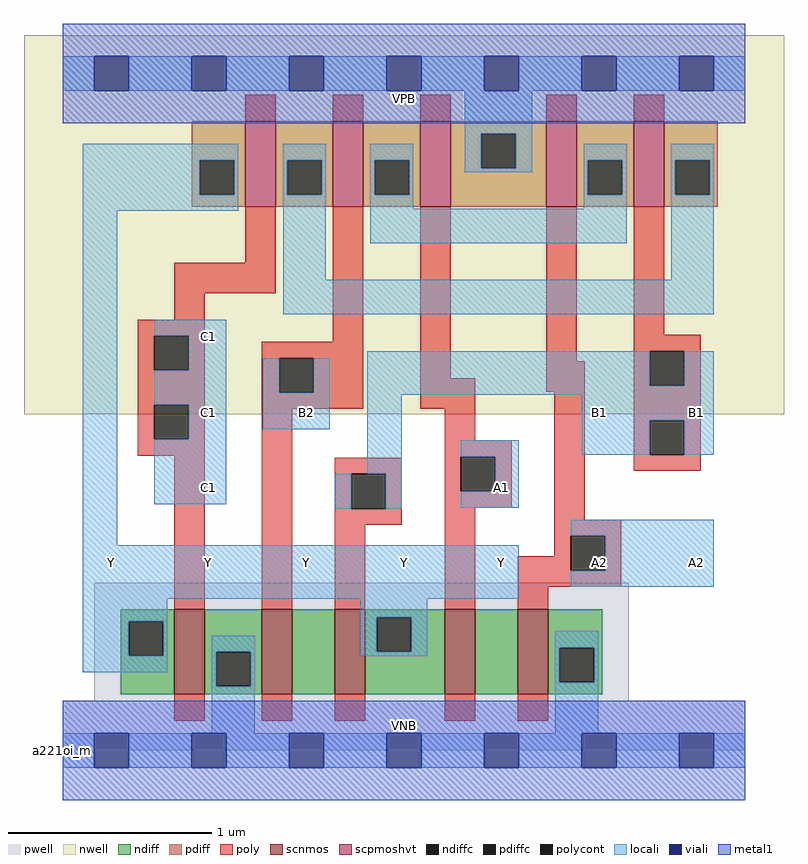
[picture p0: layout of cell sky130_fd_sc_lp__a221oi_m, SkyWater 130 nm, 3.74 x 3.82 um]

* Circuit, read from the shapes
.subckt sky130_fd_sc_lp__a221oi_m A1 A2 B1 B2 C1 VGND VNB VPB VPWR Y
XM1 VGND C1 Y VNB sky130_fd_pr__nfet_01v8 w=0.42 l=0.15
XM2 n1 B2 VGND VNB sky130_fd_pr__nfet_01v8 w=0.42 l=0.15
XM3 Y B1 n1 VNB sky130_fd_pr__nfet_01v8 w=0.42 l=0.15
XM4 n2 A1 Y VNB sky130_fd_pr__nfet_01v8 w=0.42 l=0.15
XM5 VGND A2 n2 VNB sky130_fd_pr__nfet_01v8 w=0.42 l=0.15
XM6 n3 C1 Y VPB sky130_fd_pr__pfet_01v8_hvt w=0.42 l=0.15
XM7 n4 B2 n3 VPB sky130_fd_pr__pfet_01v8_hvt w=0.42 l=0.15
XM8 VPWR A1 n4 VPB sky130_fd_pr__pfet_01v8_hvt w=0.42 l=0.15
XM9 n4 A2 VPWR VPB sky130_fd_pr__pfet_01v8_hvt w=0.42 l=0.15
XM10 n3 B1 n4 VPB sky130_fd_pr__pfet_01v8_hvt w=0.42 l=0.15
.ends

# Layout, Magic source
magic
tech sky130A
magscale 1 2
<< nwell >>
rect -38 331 710 704
<< pwell >>
rect 31 49 557 165
rect 0 0 672 49
<< scnmos >>
rect 110 55 140 139
rect 196 55 226 139
rect 268 55 298 139
rect 376 55 406 139
rect 448 55 478 139
<< scpmoshvt >>
rect 180 535 210 619
rect 266 535 296 619
rect 352 535 382 619
rect 476 535 506 619
rect 562 535 592 619
<< ndiff >>
rect 57 127 110 139
rect 57 93 65 127
rect 99 93 110 127
rect 57 55 110 93
rect 140 97 196 139
rect 140 63 151 97
rect 185 63 196 97
rect 140 55 196 63
rect 226 55 268 139
rect 298 131 376 139
rect 298 97 309 131
rect 343 97 376 131
rect 298 55 376 97
rect 406 55 448 139
rect 478 101 531 139
rect 478 67 489 101
rect 523 67 531 101
rect 478 55 531 67
<< pdiff >>
rect 127 581 180 619
rect 127 547 135 581
rect 169 547 180 581
rect 127 535 180 547
rect 210 581 266 619
rect 210 547 221 581
rect 255 547 266 581
rect 210 535 266 547
rect 296 581 352 619
rect 296 547 307 581
rect 341 547 352 581
rect 296 535 352 547
rect 382 607 476 619
rect 382 573 412 607
rect 446 573 476 607
rect 382 535 476 573
rect 506 581 562 619
rect 506 547 517 581
rect 551 547 562 581
rect 506 535 562 547
rect 592 581 645 619
rect 592 547 603 581
rect 637 547 645 581
rect 592 535 645 547
<< ndiffc >>
rect 65 93 99 127
rect 151 63 185 97
rect 309 97 343 131
rect 489 67 523 101
<< pdiffc >>
rect 135 547 169 581
rect 221 547 255 581
rect 307 547 341 581
rect 412 573 446 607
rect 517 547 551 581
rect 603 547 637 581
<< poly >>
rect 180 619 210 645
rect 266 619 296 645
rect 352 619 382 645
rect 476 619 506 645
rect 562 619 592 645
rect 180 480 210 535
rect 110 450 210 480
rect 110 424 140 450
rect 74 408 140 424
rect 74 374 90 408
rect 124 374 140 408
rect 266 402 296 535
rect 74 340 140 374
rect 74 306 90 340
rect 124 306 140 340
rect 74 290 140 306
rect 110 139 140 290
rect 196 386 296 402
rect 196 352 213 386
rect 247 352 296 386
rect 196 336 296 352
rect 352 366 382 535
rect 476 383 506 535
rect 562 409 592 535
rect 562 393 628 409
rect 352 336 406 366
rect 476 353 514 383
rect 196 139 226 336
rect 376 305 406 336
rect 376 289 442 305
rect 268 272 334 288
rect 268 238 284 272
rect 318 238 334 272
rect 268 222 334 238
rect 376 255 392 289
rect 426 255 442 289
rect 376 239 442 255
rect 268 139 298 222
rect 376 139 406 239
rect 484 227 514 353
rect 562 359 578 393
rect 612 359 628 393
rect 562 325 628 359
rect 562 291 578 325
rect 612 291 628 325
rect 562 275 628 291
rect 484 211 550 227
rect 484 191 500 211
rect 448 177 500 191
rect 534 177 550 211
rect 448 161 550 177
rect 448 139 478 161
rect 110 29 140 55
rect 196 29 226 55
rect 268 29 298 55
rect 376 29 406 55
rect 448 29 478 55
<< polycont >>
rect 90 374 124 408
rect 90 306 124 340
rect 213 352 247 386
rect 284 238 318 272
rect 392 255 426 289
rect 578 359 612 393
rect 578 291 612 325
rect 500 177 534 211
<< locali >>
rect 0 649 31 683
rect 65 649 127 683
rect 161 649 223 683
rect 257 649 319 683
rect 353 649 415 683
rect 449 649 511 683
rect 545 649 607 683
rect 641 649 672 683
rect 396 607 462 649
rect 20 581 173 597
rect 20 547 135 581
rect 169 547 173 581
rect 20 531 173 547
rect 217 581 259 597
rect 217 547 221 581
rect 255 547 259 581
rect 20 202 54 531
rect 217 463 259 547
rect 303 581 345 597
rect 303 547 307 581
rect 341 547 345 581
rect 396 573 412 607
rect 446 573 462 607
rect 396 569 462 573
rect 513 581 555 597
rect 303 533 345 547
rect 513 547 517 581
rect 551 547 555 581
rect 513 533 555 547
rect 303 499 555 533
rect 599 581 641 597
rect 599 547 603 581
rect 637 547 641 581
rect 599 463 641 547
rect 217 429 641 463
rect 90 408 161 424
rect 124 374 161 408
rect 90 340 161 374
rect 124 306 161 340
rect 197 352 213 386
rect 247 352 263 386
rect 197 316 263 352
rect 300 359 578 393
rect 612 359 641 393
rect 300 350 641 359
rect 90 242 161 306
rect 300 272 334 350
rect 511 325 641 350
rect 268 238 284 272
rect 318 238 334 272
rect 392 289 449 305
rect 511 291 578 325
rect 612 291 641 325
rect 426 255 449 289
rect 392 239 449 255
rect 500 211 641 227
rect 20 149 449 202
rect 534 177 641 211
rect 500 161 641 177
rect 20 127 103 149
rect 20 93 65 127
rect 99 93 103 127
rect 293 131 359 149
rect 20 77 103 93
rect 147 97 189 113
rect 147 63 151 97
rect 185 63 189 97
rect 293 97 309 131
rect 343 97 359 131
rect 293 93 359 97
rect 485 101 527 117
rect 147 17 189 63
rect 485 67 489 101
rect 523 67 527 101
rect 485 17 527 67
rect 0 -17 31 17
rect 65 -17 127 17
rect 161 -17 223 17
rect 257 -17 319 17
rect 353 -17 415 17
rect 449 -17 511 17
rect 545 -17 607 17
rect 641 -17 672 17
<< viali >>
rect 31 649 65 683
rect 127 649 161 683
rect 223 649 257 683
rect 319 649 353 683
rect 415 649 449 683
rect 511 649 545 683
rect 607 649 641 683
rect 31 -17 65 17
rect 127 -17 161 17
rect 223 -17 257 17
rect 319 -17 353 17
rect 415 -17 449 17
rect 511 -17 545 17
rect 607 -17 641 17
<< metal1 >>
rect 0 683 672 715
rect 0 649 31 683
rect 65 649 127 683
rect 161 649 223 683
rect 257 649 319 683
rect 353 649 415 683
rect 449 649 511 683
rect 545 649 607 683
rect 641 649 672 683
rect 0 617 672 649
rect 0 17 672 49
rect 0 -17 31 17
rect 65 -17 127 17
rect 161 -17 223 17
rect 257 -17 319 17
rect 353 -17 415 17
rect 449 -17 511 17
rect 545 -17 607 17
rect 641 -17 672 17
rect 0 -49 672 -17
<< labels >>
flabel pwell s 0 0 672 49 0 FreeSans 200 0 0 0 VNB
port 7 nsew ground bidirectional
flabel nwell s 0 617 672 666 0 FreeSans 200 0 0 0 VPB
port 8 nsew power bidirectional
rlabel comment s 0 0 0 0 4 a221oi_m
flabel metal1 s 0 617 672 666 0 FreeSans 340 0 0 0 VPWR
port 9 nsew power bidirectional
flabel metal1 s 0 0 672 49 0 FreeSans 340 0 0 0 VGND
port 6 nsew ground bidirectional
flabel locali s 415 242 449 276 0 FreeSans 340 0 0 0 A1
port 1 nsew signal input
flabel locali s 511 168 545 202 0 FreeSans 340 0 0 0 A2
port 2 nsew signal input
flabel locali s 607 168 641 202 0 FreeSans 340 0 0 0 A2
port 2 nsew signal input
flabel locali s 223 316 257 350 0 FreeSans 340 0 0 0 B2
port 4 nsew signal input
flabel locali s 127 242 161 276 0 FreeSans 340 0 0 0 C1
port 5 nsew signal input
flabel locali s 127 316 161 350 0 FreeSans 340 0 0 0 C1
port 5 nsew signal input
flabel locali s 127 390 161 424 0 FreeSans 340 0 0 0 C1
port 5 nsew signal input
flabel locali s 511 316 545 350 0 FreeSans 340 0 0 0 B1
port 3 nsew signal input
flabel locali s 607 316 641 350 0 FreeSans 340 0 0 0 B1
port 3 nsew signal input
flabel locali s 31 168 65 202 0 FreeSans 340 0 0 0 Y
port 10 nsew signal output
flabel locali s 127 168 161 202 0 FreeSans 340 0 0 0 Y
port 10 nsew signal output
flabel locali s 223 168 257 202 0 FreeSans 340 0 0 0 Y
port 10 nsew signal output
flabel locali s 319 168 353 202 0 FreeSans 340 0 0 0 Y
port 10 nsew signal output
flabel locali s 415 168 449 202 0 FreeSans 340 0 0 0 Y
port 10 nsew signal output
<< properties >>
string LEFsite unit
string LEFclass CORE
string FIXED_BBOX 0 0 672 666
string GDS_FILE $PDKPATH/libs.ref/sky130_fd_sc_lp/gds/sky130_fd_sc_lp.gds
string LEFsymmetry X Y R90
string GDS_END 3953072
string GDS_START 3946158
<< end >>
